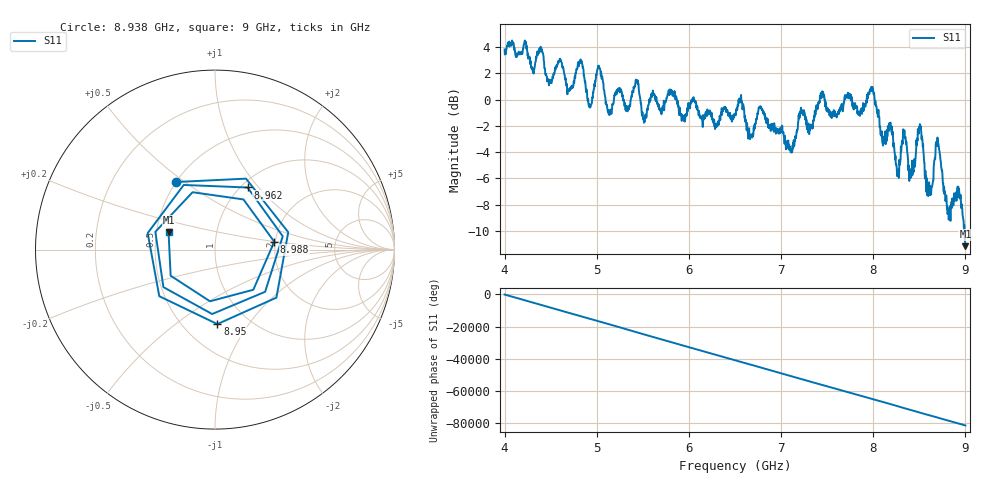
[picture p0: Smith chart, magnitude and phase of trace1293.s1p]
! Created with skrf 1.8.0 (http://scikit-rf.org).
# Hz S RI R 50.0
!freq ReS11 ImS11
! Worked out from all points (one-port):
!   1601 points, 4 GHz to 9 GHz, reference 50 ohm
!   lowest |S11| = -11.2 dB at 9 GHz (marker M1), VSWR 1.76, Z = 29 + j6.13 ohm
!   |S11| at or under -10 dB: 8.990101 GHz to end of sweep
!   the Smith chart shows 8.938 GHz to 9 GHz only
!   S11 on the Smith chart (normalised r, x): 8.938 GHz: 0.50, +0.46; 8.95 GHz: 0.72, -0.72; 8.962 GHz: 1.07, +0.88; 8.988 GHz: 1.97, +0.19; 9 GHz: 0.58, +0.12
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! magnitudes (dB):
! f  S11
! 4 GHz  3.8
! 4.625 GHz  2.5
! 4.706 GHz  0.8
! 4.831 GHz  2.9
! 4.922 GHz  -0.6
! 5.022 GHz  2.6
! 5.134 GHz  -0.8
! 5.25 GHz  0.9
! 5.516 GHz  -1.6
! 5.875 GHz  -0.3
! 6.5 GHz  -1.1
! 7.125 GHz  -3.5
! 7.222 GHz  -0.8
! 7.75 GHz  0.4
! 7.988 GHz  0.7
! 8.262 GHz  -5.8
! 8.334 GHz  -2.7
! 8.375 GHz  -4.4
! 8.416 GHz  -5.4
! 8.509 GHz  -1.9
! 8.603 GHz  -7.2
! 8.7 GHz  -3.1
! 8.812 GHz  -8.3
! 8.938 GHz  -7.2
! 8.95 GHz  -7.6
! 8.962 GHz  -8.2
! 8.988 GHz  -9.5
! 9 GHz  -11.2
